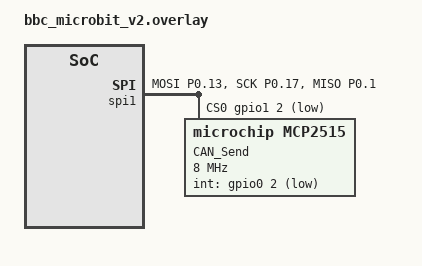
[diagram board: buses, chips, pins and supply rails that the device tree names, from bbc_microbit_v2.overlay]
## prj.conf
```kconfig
CONFIG_SPI=y
CONFIG_GPIO=y
CONFIG_CAN=y
CONFIG_CAN_MCP2515=y
```

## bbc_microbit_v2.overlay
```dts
&spi1 {
	status = "okay";
	pinctrl-0 = <&spi1_default>;
	pinctrl-names = "default";
	cs-gpios = <&gpio1 2 GPIO_ACTIVE_LOW>;
	mcp2515_can: mcp2515@0 {
		compatible = "microchip,mcp2515";
        spi-max-frequency = <8000000>;
        int-gpios = <&gpio0 2 GPIO_ACTIVE_LOW>;
        status = "okay";
		label = "CAN_Send";
		reg = <0x0>;
		osc-freq = <16000000>;
		bus-speed = <125000>;
		sjw = <1>;
		prop-seg = <2>;
		phase-seg1 = <7>;
		phase-seg2 = <6>;
		#address-cells = <1>;
		#size-cells = <0>;

	};

};

&pinctrl {
	spi1_default: spi1_default {
		group1 {
			psels = <NRF_PSEL(SPIM_MOSI, 0, 13)>,
					<NRF_PSEL(SPIM_SCK, 0, 17)>,
					<NRF_PSEL(SPIM_MISO, 0, 1)>;
		};
	};
};

/ {
    chosen {
        zephyr,canbus = &mcp2515_can;
    };
};
```

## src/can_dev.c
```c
#include <zephyr/kernel.h>
#include <zephyr/drivers/can.h>
#include <zephyr/drivers/spi.h>
#include <zephyr/drivers/gpio.h>
#include <zephyr/device.h>
#include "can_dev.h"

const struct device *const get_can_dev(void){
    return DEVICE_DT_GET(DT_CHOSEN(zephyr_canbus));
} 
```

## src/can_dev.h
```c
#ifndef CAN_DEV_H
#define CAN_DEV_H

const struct device *const get_can_dev(void);

#endif
```

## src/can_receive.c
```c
#include <zephyr/kernel.h>
#include <zephyr/drivers/can.h>
#include <zephyr/drivers/spi.h>
#include <zephyr/drivers/gpio.h>
#include <zephyr/device.h>
#include <stdbool.h>
#include <string.h>
#include "can_receive.h"
#include "can_dev.h"


int setup_can_filter(const struct device *dev, can_rx_callback_t rx_cb, void *cb_data){
    struct can_filter filter_str = {
        .flags = CAN_FILTER_DATA | CAN_FILTER_IDE,
	    .id = RECEIVE_ID_STR,
	    .mask = CAN_EXT_ID_MASK
    };

    struct can_filter filter_byte = {
        .flags = CAN_FILTER_DATA | CAN_FILTER_IDE,
	    .id = RECEIVE_ID_BYTE,
	    .mask = CAN_EXT_ID_MASK
    };

    int filter_id_str = can_add_rx_filter(dev, rx_cb, cb_data, &filter_str);
    int filter_id_byte = can_add_rx_filter(dev, rx_cb, cb_data, &filter_byte);

    return (filter_id_str >= 0 && filter_id_byte >= 0) ? 0 : -1;  // Return 0 if both filters are added successfully
}

void can_rx_callback(const struct device *dev, struct can_frame *frame, void *user_data) {
    if (frame->id == RECEIVE_ID_STR && frame->dlc <= 8) {
        char received_str[9];
        memcpy(received_str, frame->data, frame->dlc);
        received_str[frame->dlc] = '\0';
        printk("Received string from ID 0x%X: %s\n", frame->id, received_str);
    } else if (frame->id == RECEIVE_ID_BYTE && frame->dlc == 1) {
        uint8_t received_byte = frame->data[0];
        printk("Received byte from ID 0x%X: %02X\n", frame->id, received_byte);
    } else {
        printk("Unexpected data format or ID\n");
    }
}
```

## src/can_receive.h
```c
#ifndef CAN_RECEIVE_H
#define CAN_RECEIVE_H

#define RECEIVE_ID_STR 0x0000002 // RECEIVE ID for motor controller
#define RECEIVE_ID_BYTE 0x0000003 // RECEIVE ID for sensor 

int setup_can_filter(const struct device *dev, can_rx_callback_t rx_cb, void *cb_data);

void can_rx_callback(const struct device *dev, struct can_frame *frame, void *user_data);

#endif
```

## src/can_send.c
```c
#include <zephyr/kernel.h>
#include <zephyr/drivers/can.h>
#include <zephyr/drivers/spi.h>
#include <zephyr/drivers/gpio.h>
#include <zephyr/device.h>
#include <stdbool.h>
#include "can_send.h"
#include "can_dev.h"


/* Function to convert CAN state to readable string */
const char* can_state_to_str(enum can_state state) {
    switch (state) {
        case CAN_STATE_ERROR_ACTIVE:
            return "ERROR ACTIVE";
        case CAN_STATE_ERROR_WARNING:
            return "ERROR WARNING";
        case CAN_STATE_ERROR_PASSIVE:
            return "ERROR PASSIVE";
        case CAN_STATE_BUS_OFF:
            return "BUS OFF";
        case CAN_STATE_STOPPED:
            return "STOPPED";
        default:
            return "UNKNOWN";
    }
}

void send_custom_data (const struct device *can_dev, uint8_t js_bool, int16_t js_deg_int, int16_t js_spd_int){
    struct can_frame frame;
    memset(&frame, 0, sizeof(frame));
        
    frame.flags = CAN_FRAME_IDE; // Use extended identifier
    frame.id = MSG_ID;
    frame.dlc = 5;// Data length code

    frame.data[0] = js_bool;
    memcpy(&frame.data[1], &js_deg_int, sizeof(js_deg_int));
    memcpy(&frame.data[3], &js_spd_int, sizeof(js_spd_int));

    if (can_send(can_dev, &frame, K_SECONDS(10), NULL, NULL) != 0) {
            printk("Failed to send frame\n");
        } /*else {
            printk("Frame sent\n");
        }*/
}
```

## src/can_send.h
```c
#ifndef CAN_SEND_H
#define CAN_SEND_H

#define MSG_ID 0x0000001 // Message ID

const char* can_state_to_str(enum can_state state);
void send_custom_data (const struct device *can_dev, uint8_t js_bool, int16_t js_deg_int, int16_t js_spd_int);

#endif // CAN_UTILS_H
```
